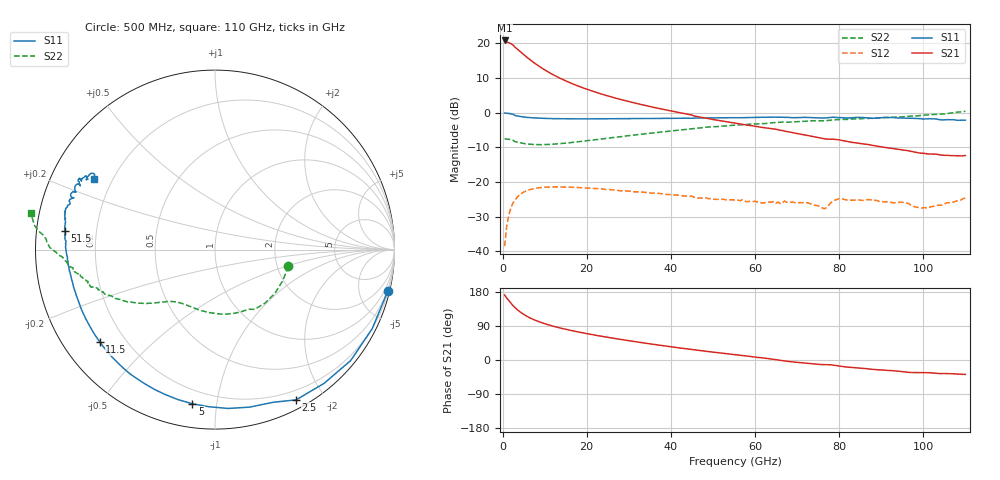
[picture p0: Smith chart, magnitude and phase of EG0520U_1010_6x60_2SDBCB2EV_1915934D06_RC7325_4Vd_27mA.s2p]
!File name = EG0520U_1010_6x60_2SDBCB2EV_1915934D06_RC7325_4Vd_27mA.s2p
!Base file name = EG0520U_1010_6x60_2SDBCB2EV_1915934D06_RC7325
!Date = 8/23/2019
!Time = 1:11 PM
!Test duration(min) = 0.15
!Test = S-Parameters
!MPTS version = 8.91.5
!State File = C:\Data\PNA\20190821205423\S-Parameters_2019-08-23.sta
!Cal File =
!ComputerName = CMPE-LAB-6
!Comments =
!Attenuation = 0
!Z0 = 50
!Input Power(dBm) = -13.00
!Device ID = EG0520U_1010_6x60_2SDBCB2EV
!Row = 73
!Column = 25
!Technology = QPHT09
!Lot/Wafer = 1915934D06
!Gate Size = 360
!Mask = EG0520
!Cal Standards = GaAs BCB
!Cal Kit = EG2306
!Job Number = 20190821205423
!Device Type = FET
!set_Vg(v) = -1.500
!set_Vd(v) = 4.000
!set_Vd(mA) = 27.000
!file_name = EG0520U_1010_6x60_2SDBCB2EV_1915934D06_RC7325_4Vd_27mA.s2p
!Vd(V) = 4.000
!Vd(mA) = 26.963
!Vg(V) = -0.619
!Vg(mA) = -0.007
# GHz  S  DB  R  50
!%	Freq(GHz)  s11(dB)  s11(deg)  s21(dB)  s21(deg)  s12(dB)  s12(deg)  s22(dB)  s22(deg)
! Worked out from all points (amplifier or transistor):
!   220 points, 500 MHz to 110 GHz, reference 50 ohm
!   highest |S21| = 20.9 dB at 500 MHz (marker M1)
!   |S21| within 3 dB of that: start of sweep to 4.007 GHz
!   unconditionally stable (mu >= 1): 34.35 GHz to 102.3 GHz
!   at 18.5 GHz: K = 0.53, MSG = 14.5 dB, |S12| = -21.6 dB
!   at 55.5 GHz: K = 1.50, MAG = 6.8 dB, |S12| = -25.1 dB
!   at 110 GHz: K = -2.16, MSG = 6.2 dB, |S12| = -24.7 dB
!   S11 on the Smith chart (normalised r, x): 500 MHz: 0.36, -8.44; 2.5 GHz: 0.09, -1.67; 5 GHz: 0.12, -0.86; 11.5 GHz: 0.11, -0.35; 51.5 GHz: 0.09, +0.06; 110 GHz: 0.13, +0.26
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0.5  -0.09 -13.5  20.88 171.6  -38.56 80.7  -7.55 -12.8
1  -0.17 -26.7  20.52 163.6  -32.76 74.1  -7.63 -24.5
1.5  -0.21 -39.3  20.21 156.7  -29.55 67.3  -7.68 -35.9
2  -0.34 -50.8  19.96 149.5  -27.49 60.9  -7.78 -47.2
2.5  -0.43 -61.7  19.56 143.3  -26.06 55.3  -7.98 -56.6
3.5  -0.93 -77.7  18.40 133.1  -24.41 46.6  -8.51 -67.8
4.5  -1.15 -92.1  17.35 124.3  -23.32 39.1  -8.76 -80.5
5  -1.23 -98.3  16.83 120.6  -22.95 35.9  -8.88 -85.8
6  -1.37 -108.9  15.83 114.0  -22.42 30.7  -9.06 -94.6
7.5  -1.51 -121.1  14.42 106.1  -21.93 24.5  -9.18 -104.7
9.5  -1.62 -132.7  12.77 97.8  -21.58 18.5  -9.22 -113.2
11.5  -1.70 -141.3  11.33 90.9  -21.46 13.8  -9.14 -119.5
14.5  -1.76 -150.6  9.49 82.3  -21.47 8.8  -8.85 -125.8
19  -1.79 -159.9  7.23 71.8  -21.67 3.4  -8.26 -131.6
27  -1.75 -170.0  4.16 56.2  -22.35 -2.3  -7.07 -138.1
37  -1.65 -178.0  1.27 39.6  -23.30 -4.5  -5.67 -145.0
51.5  -1.49 172.8  -2.26 18.9  -25.07 -4.0  -3.96 -156.0
55.5  -1.45 170.2  -3.06 13.8  -25.14 -5.0  -3.57 -158.1
73.5  -1.42 160.5  -6.84 -10.1  -26.51 -9.6  -2.34 -168.8
92  -1.39 152.3  -10.21 -27.8  -25.80 -19.7  -1.39 -177.2
101  -1.77 151.6  -11.91 -33.6  -27.50 -18.3  -0.63 178.3
110  -2.16 149.9  -12.38 -38.2  -24.73 -17.2  0.40 168.8
